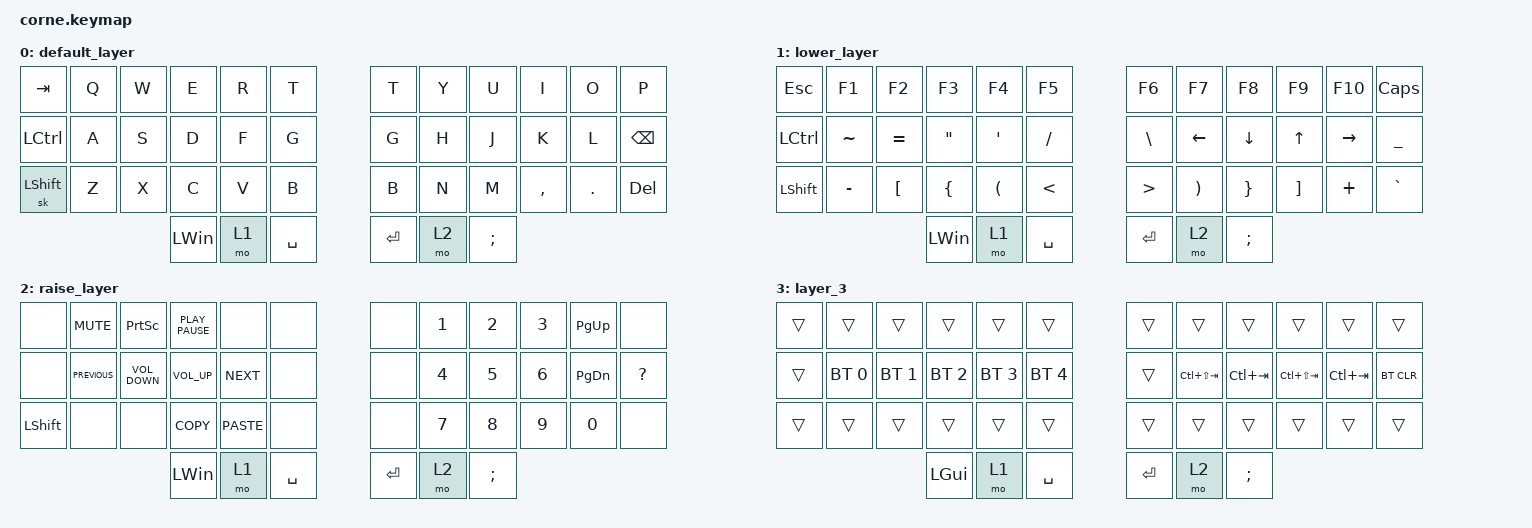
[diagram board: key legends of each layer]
/*
 * Copyright (c) 2020 The ZMK Contributors
 *
 * SPDX-License-Identifier: MIT
 */

#include <behaviors.dtsi>
#include <dt-bindings/zmk/bt.h>
#include <dt-bindings/zmk/keys.h>

/ {
    cond_layers {
        compatible = "zmk,conditional-layers";

        tri_layer {
            if-layers = <1 2>;
            then-layer = <3>;
        };
    };

    keymap {
        compatible = "zmk,keymap";

        default_layer {
            bindings = <
&kp TAB           &kp Q  &kp W  &kp E     &kp R  &kp T        &kp T      &kp Y  &kp U     &kp I      &kp O       &kp P
&kp LEFT_CONTROL  &kp A  &kp S  &kp D     &kp F  &kp G        &kp G      &kp H  &kp J     &kp K      &kp L       &kp BACKSPACE
&sk LEFT_SHIFT    &kp Z  &kp X  &kp C     &kp V  &kp B        &kp B      &kp N  &kp M     &kp COMMA  &kp PERIOD  &kp DEL
                                &kp LWIN  &mo 1  &kp SPACE    &kp ENTER  &mo 2  &kp SEMI
            >;
        };

        lower_layer {
            bindings = <
&kp ESCAPE        &kp F1     &kp F2            &kp F3             &kp F4                &kp F5           &kp F6            &kp F7                 &kp F8           &kp F9             &kp F10    &kp CAPSLOCK
&kp LEFT_CONTROL  &kp TILDE  &kp EQUAL         &kp DOUBLE_QUOTES  &kp SINGLE_QUOTE      &kp SLASH        &kp BACKSLASH     &kp LEFT               &kp DOWN         &kp UP_ARROW       &kp RIGHT  &kp UNDER
&kp LSHIFT        &kp MINUS  &kp LEFT_BRACKET  &kp LEFT_BRACE     &kp LEFT_PARENTHESIS  &kp LESS_THAN    &kp GREATER_THAN  &kp RIGHT_PARENTHESIS  &kp RIGHT_BRACE  &kp RIGHT_BRACKET  &kp PLUS   &kp GRAVE
                                               &kp LEFT_WIN       &mo 1                 &kp SPACE        &kp RET           &mo 2                  &kp SEMI
            >;
        };

        raise_layer {
            bindings = <
&none           &kp K_MUTE      &kp PRINTSCREEN    &kp K_PLAY_PAUSE  &none        &none        &none    &kp N1  &kp N2    &kp N3  &kp PAGE_UP    &none
&none           &kp K_PREVIOUS  &kp K_VOLUME_DOWN  &kp K_VOLUME_UP   &kp K_NEXT   &none        &none    &kp N4  &kp N5    &kp N6  &kp PAGE_DOWN  &kp QUESTION
&kp LEFT_SHIFT  &none           &none              &kp K_COPY        &kp K_PASTE  &none        &none    &kp N7  &kp N8    &kp N9  &kp N0         &none
                                                   &kp LEFT_WIN      &mo 1        &kp SPACE    &kp RET  &mo 2   &kp SEMI
            >;
        };

        layer_3 {
            bindings = <
&trans  &trans        &trans        &trans        &trans        &trans          &trans     &trans           &trans       &trans           &trans       &trans
&trans  &bt BT_SEL 0  &bt BT_SEL 1  &bt BT_SEL 2  &bt BT_SEL 3  &bt BT_SEL 4    &trans     &kp LC(LS(TAB))  &kp LC(TAB)  &kp LC(LS(TAB))  &kp LC(TAB)  &bt BT_CLR
&trans  &trans        &trans        &trans        &trans        &trans          &trans     &trans           &trans       &trans           &trans       &trans
                                    &kp LGUI      &mo 1         &kp SPACE       &kp ENTER  &mo 2            &kp SEMI
            >;
        };
    };
};
